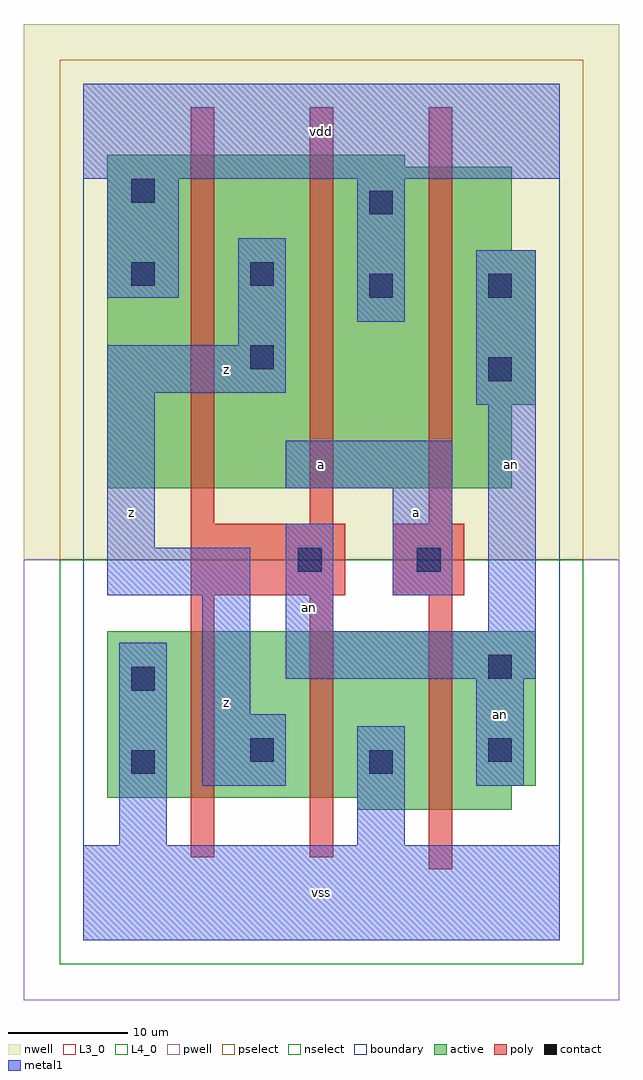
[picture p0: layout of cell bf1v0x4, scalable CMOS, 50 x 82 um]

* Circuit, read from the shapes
.subckt bf1v0x4 a an vdd vss z
M1 z an vss VSUBS nfet w=14u l=2u m=2
M2 an a vss VSUBS nfet w=15u l=2u
M3 z an vdd n1 pfet w=28u l=2u m=2
M4 an a vdd n1 pfet w=27u l=2u
.ends

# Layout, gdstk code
import gdstk
lib = gdstk.Library(unit=1e-6, precision=1e-09)
def R(c, l, rs):  # rectangles x0, y0, x1, y1
    for r in rs: c.add(gdstk.rectangle(r[:2], r[2:], *l))
def A(c, l, x, y, w, h, nx, ny, dx, dy):  # array of equal rectangles
    R(c, l, [(x+i*dx, y+j*dy, x+i*dx+w, y+j*dy+h) for i in range(nx) for j in range(ny)])
L3_0 = (3, 0)
L4_0 = (4, 0)
contact = (25, 0)
pwell = (41, 0)
nwell = (42, 0)
active = (43, 0)
pselect = (44, 0)
nselect = (45, 0)
poly = (46, 0)
metal1 = (49, 0)
boundary = (63, 0)

bf1v0x4 = lib.new_cell('bf1v0x4')
R(bf1v0x4, L3_0, [(23,11,36,12), (2,12,36,13), (2,13,38,26)])
R(bf1v0x4, L4_0, [(2,38,36,45), (2,45,38,58), (2,58,36,65), (2,65,27,66)])
R(bf1v0x4, contact, [(4,14,6,16), (24,14,26,16), (14,15,16,17), (34,15,36,17), (4,21,6,23), (34,22,36,24), (18,31,20,33), (28,31,30,33), (34,47,36,49), (14,48,16,50), (24,54,26,56), (34,54,36,56), (4,55,6,57), (14,55,16,57), (24,61,26,63), (4,62,6,64)])
R(bf1v0x4, pwell, [(-5,-5,45,32)])
R(bf1v0x4, nwell, [(-5,32,45,77)])
R(bf1v0x4, active, [(23,11,36,12), (2,12,36,13), (2,13,38,26), (2,38,36,45), (2,45,38,58), (2,58,36,65), (2,65,27,66)])
R(bf1v0x4, pselect, [(-2,32,42,74)])
R(bf1v0x4, nselect, [(-2,-2,42,32)])
A(bf1v0x4, poly, 9, 35, 2, 35, 3, 1, 10, 0)
R(bf1v0x4, poly, [(29,6,31,29), (9,7,11,29), (19,7,21,29), (9,29,22,35), (26,29,32,35)])
R(bf1v0x4, metal1, [(0,0,40,8), (3,8,7,25), (23,8,27,18), (10,13,17,19), (33,13,37,22), (10,19,14,29), (17,22,38,26), (17,26,21,35), (34,26,38,45), (2,29,14,33), (26,29,31,38), (2,33,6,46), (17,38,31,42), (33,45,38,58), (2,46,17,50), (13,50,17,59), (23,52,27,64), (2,54,8,64), (0,64,40,72)])
R(bf1v0x4, boundary, [(0,0,40,72)])
bf1v0x4.add(gdstk.Label('an', (19,28), layer=49, texttype=0))
bf1v0x4.add(gdstk.Label('an', (35,19), layer=49, texttype=0))
bf1v0x4.add(gdstk.Label('an', (36,40), layer=49, texttype=0))
bf1v0x4.add(gdstk.Label('z', (4,36), layer=49, texttype=0))
bf1v0x4.add(gdstk.Label('z', (12,20), layer=49, texttype=0))
bf1v0x4.add(gdstk.Label('z', (12,48), layer=49, texttype=0))
bf1v0x4.add(gdstk.Label('vss', (20,4), layer=49, texttype=0))
bf1v0x4.add(gdstk.Label('a', (28,36), layer=49, texttype=0))
bf1v0x4.add(gdstk.Label('a', (20,40), layer=49, texttype=0))
bf1v0x4.add(gdstk.Label('vdd', (20,68), layer=49, texttype=0))

lib.write_gds('bf1v0x4.gds')
